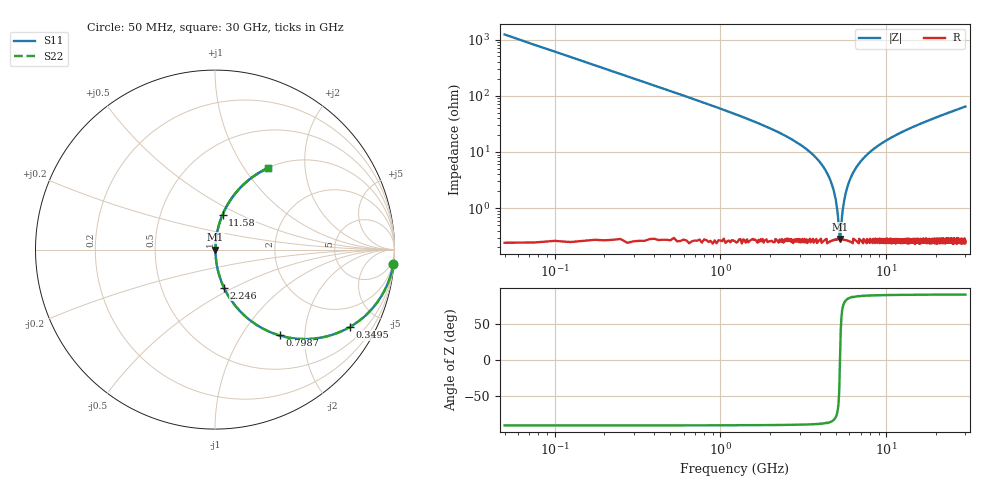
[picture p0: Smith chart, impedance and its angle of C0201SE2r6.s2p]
!	AVX Thin Film Operation 	Date: April 2014
!	Description: Accu-P® Series, Thin Film  SMD RF Capacitor
!	Part Number: 02013J2R6QBSTR
# MHZ S MA R 50
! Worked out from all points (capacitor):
!   1201 points, 50 MHz to 30 GHz, reference 50 ohm
!   read as one part in series: C = 2.6 pF near 199.8 MHz
!   lowest |Z| = 282 mohm at 5.266 GHz (marker M1)
!   series resonance near 5.261 GHz, so ESL is about 350 pH
!   S11 on the Smith chart (normalised r, x): 50 MHz: 1, -24; 349.5 MHz: 1.00, -3.49; 798.8 MHz: 1.01, -1.50; 2.246 GHz: 1.01, -0.45; 11.58 GHz: 1.01, +0.41; 30 GHz: 1.01, +1.29
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50  0.997 -4.7  0.081 85.3  0.081 85.3  0.997 -4.7
249.667  0.925 -22.2  0.378 67.7  0.378 67.7  0.925 -22.2
349.5  0.867 -29.8  0.497 60.1  0.497 60.1  0.867 -29.8
798.75  0.598 -53.0  0.799 36.8  0.799 36.8  0.598 -53.0
1347.833  0.39 -66.7  0.919 22.9  0.919 22.9  0.39 -66.7
2246.333  0.217 -76.8  0.974 12.5  0.974 12.5  0.217 -76.8
4267.958  0.049 -84.1  0.996 2.8  0.996 2.8  0.049 -84.1
4742.167  0.024 -82.4  0.997 1.4  0.997 1.4  0.024 -82.4
5041.667  0.01 -74.6  0.997 0.6  0.997 0.6  0.01 -74.6
5166.458  0.004952 -57.9  0.997 0.2  0.997 0.2  0.004952 -57.9
5266.292  0.002624 5.2  0.997 -0.0  0.997 -0.0  0.002624 5.2
5366.125  0.005287 60.1  0.997 -0.3  0.997 -0.3  0.005287 60.1
5540.833  0.012 77.1  0.997 -0.7  0.997 -0.7  0.012 77.1
5765.458  0.021 81.8  0.997 -1.2  0.997 -1.2  0.021 81.8
6464.292  0.048 84.1  0.996 -2.8  0.996 -2.8  0.048 84.1
7787.083  0.093 83.1  0.993 -5.3  0.993 -5.3  0.093 83.1
10058.29  0.159 79.9  0.985 -9.2  0.985 -9.2  0.159 79.9
11580.75  0.199 77.8  0.977 -11.5  0.977 -11.5  0.199 77.8
15025  0.279 73.3  0.958 -16.2  0.958 -16.2  0.279 73.3
20016.67  0.38 67.3  0.922 -22.3  0.922 -22.3  0.38 67.3
25033.29  0.467 61.9  0.882 -27.8  0.882 -27.8  0.467 61.9
30000  0.54 57.1  0.84 -32.7  0.84 -32.7  0.54 57.1
